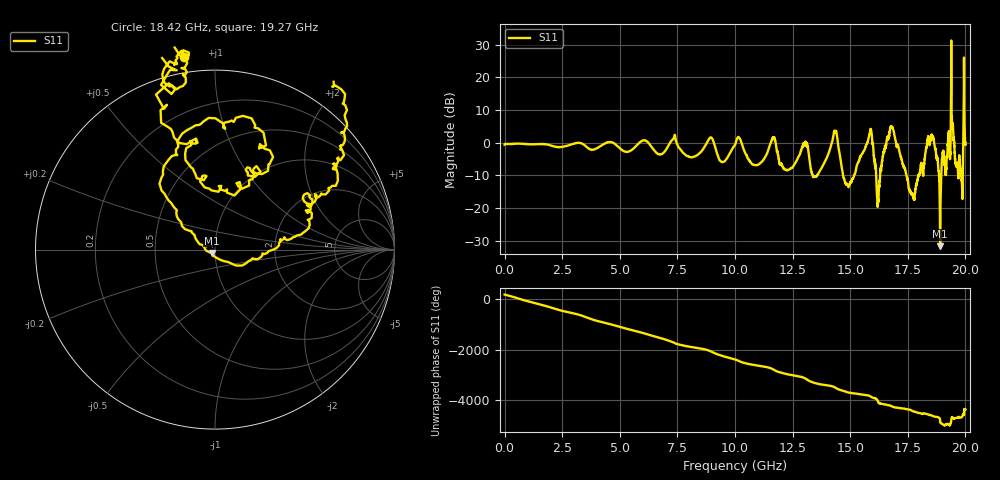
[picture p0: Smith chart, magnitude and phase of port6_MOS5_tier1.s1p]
! Created with skrf 1.8.0 (http://scikit-rf.org).
# GHz S RI R 50.0
!freq ReS11 ImS11
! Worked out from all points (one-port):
!   10000 points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, 3 MHz to 20 GHz, reference 50 ohm
!   lowest |S11| = -31.6 dB at 18.9 GHz (marker M1), VSWR 1.05, Z = 48.2 - j1.79 ohm
!   |S11| at or under -10 dB: 13.37 GHz to 13.56 GHz (189 MHz wide, 1.4 % of centre); 14.69 GHz to 15.17 GHz (479 MHz wide, 3.21 % of centre); 17.45 GHz to 17.96 GHz (513.4 MHz wide, 2.9 % of centre) (the widest 3 of 11)
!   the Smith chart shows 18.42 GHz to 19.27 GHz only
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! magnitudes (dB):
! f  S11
! 3 MHz  -0.6
! 2.503 GHz  -1.2
! 5.003 GHz  -1.7
! 7.503 GHz  -0.6
! 8.171 GHz  -4.4
! 8.961 GHz  1.6
! 9.471 GHz  -5.9
! 10 GHz  -0.7
! 10.93 GHz  -6.8
! 11.67 GHz  1.6
! 12.02 GHz  -6.5
! 12.5 GHz  -7.5
! 13.06 GHz  0.3
! 13.52 GHz  -10.2
! 14.35 GHz  3.1
! 14.74 GHz  -10.9
! 15 GHz  -12.1
! 15.86 GHz  3.4
! 16.23 GHz  -17.9
! 16.45 GHz  -2.9
! 16.8 GHz  4.8
! 17.5 GHz  -11.7
! 17.76 GHz  -17.0
! 18.55 GHz  1.3
! 18.9 GHz  -31.6
! 19.36 GHz  0.6
! 19.79 GHz  -8.2
! 20 GHz  -0.7
